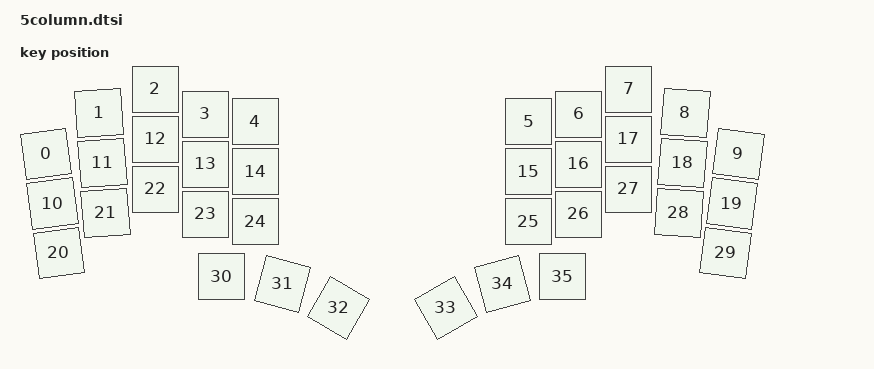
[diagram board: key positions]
#include <layouts/position_map.dtsi>
#include <physical_layouts.dtsi>

/ {
    foostan_corne_5col_layout: foostan_corne_5col_layout {
        compatible = "zmk,physical-layout";
        display-name = "5 Column";

        keys  //                     w   h    x    y     rot    rx    ry
            = <&key_physical_attrs 100 100    0  130  (-800)    50   180>
            , <&key_physical_attrs 100 100  106   48  (-400)   156    98>
            , <&key_physical_attrs 100 100  219    0       0     0     0>
            , <&key_physical_attrs 100 100  319   50       0     0     0>
            , <&key_physical_attrs 100 100  419   65       0     0     0>
            , <&key_physical_attrs 100 100  966   65       0     0     0>
            , <&key_physical_attrs 100 100 1066   50       0     0     0>
            , <&key_physical_attrs 100 100 1166    0       0     0     0>
            , <&key_physical_attrs 100 100 1279   48     400  1329    98>
            , <&key_physical_attrs 100 100 1385  130     800  1435   180>
            , <&key_physical_attrs 100 100   13  229  (-800)    63   279>
            , <&key_physical_attrs 100 100  113  148  (-400)   163   198>
            , <&key_physical_attrs 100 100  219  100       0     0     0>
            , <&key_physical_attrs 100 100  319  150       0     0     0>
            , <&key_physical_attrs 100 100  419  165       0     0     0>
            , <&key_physical_attrs 100 100  966  165       0     0     0>
            , <&key_physical_attrs 100 100 1066  150       0     0     0>
            , <&key_physical_attrs 100 100 1166  100       0     0     0>
            , <&key_physical_attrs 100 100 1273  148     400  1323   198>
            , <&key_physical_attrs 100 100 1372  229     800  1422   279>
            , <&key_physical_attrs 100 100   26  328  (-800)    76   378>
            , <&key_physical_attrs 100 100  119  248  (-400)   169   298>
            , <&key_physical_attrs 100 100  219  200       0     0     0>
            , <&key_physical_attrs 100 100  319  250       0     0     0>
            , <&key_physical_attrs 100 100  419  265       0     0     0>
            , <&key_physical_attrs 100 100  966  265       0     0     0>
            , <&key_physical_attrs 100 100 1066  250       0     0     0>
            , <&key_physical_attrs 100 100 1166  200       0     0     0>
            , <&key_physical_attrs 100 100 1266  248     400  1316   298>
            , <&key_physical_attrs 100 100 1359  328     800  1409   378>
            , <&key_physical_attrs 100 100  352  375       0     0     0>
            , <&key_physical_attrs 100 100  473  390    1500   523   440>
            , <&key_physical_attrs 100 100  585  438    3000   635   488>
            , <&key_physical_attrs 100 100  800  438 (-3000)   850   488>
            , <&key_physical_attrs 100 100  913  390 (-1500)   963   440>
            , <&key_physical_attrs 100 100 1033  375       0     0     0>
            ;
    };
};

&layouts_foostan_corne_position_map {
    foostan_corne_5col_posmap: five {
        physical-layout = <&foostan_corne_5col_layout>;
        positions
            = <36  0  1  2  3  4  5  6  7  8  9 37>
            , <38 10 11 12 13 14 15 16 17 18 19 39>
            , <40 20 21 22 23 24 25 26 27 28 29 41>
            , <         30 31 32 33 34 35         >;
    };
};
